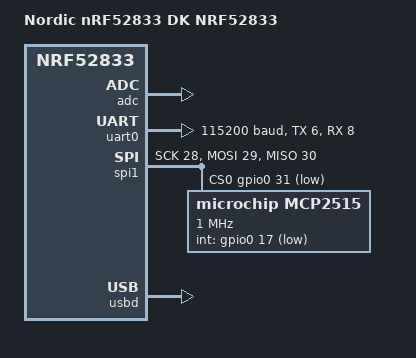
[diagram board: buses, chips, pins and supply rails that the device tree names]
/*
 * Copyright (c) 2019 Nordic Semiconductor ASA
 *
 * SPDX-License-Identifier: Apache-2.0
 */
 
 //This board is derived from the nrf52833dk_nrf52833.dts board

/dts-v1/;
#include <nordic/nrf52833_qiaa.dtsi>

/ {
	model = "Nordic nRF52833 DK NRF52833";
	compatible = "nordic,nrf52833-dk-nrf52833";

	chosen {
		zephyr,console = &uart0;
		zephyr,shell-uart = &uart0;
		zephyr,uart-mcumgr = &uart0;
		zephyr,bt-mon-uart = &uart0;
		zephyr,bt-c2h-uart = &uart0;
		zephyr,sram = &sram0;
		zephyr,flash = &flash0;
		zephyr,code-partition = &slot0_partition;
    zephyr,canbus = &mcp2515;
	};

  /*/
  arduino_header: connector {
		compatible = "arduino-header-r3";
		#gpio-cells = <2>;
		gpio-map-mask = <0xffffffff 0xffffffc0>;
		gpio-map-pass-thru = <0 0x3f>;
		gpio-map = <0 0 &gpio0 3 0>,	// A0
			   <1 0 &gpio0 4 0>,	// A1
			   <2 0 &gpio0 28 0>,	// A2
			   <3 0 &gpio0 29 0>,	// A3
			   <4 0 &gpio0 30 0>,	// A4
			   <5 0 &gpio0 31 0>,	// A5
			   <6 0 &gpio1 1 0>,	// D0
			   <7 0 &gpio1 2 0>,	// D1
			   <8 0 &gpio1 3 0>,	// D2
			   <9 0 &gpio1 4 0>,	// D3
			   <10 0 &gpio1 5 0>,	// D4
			   <11 0 &gpio1 6 0>,	// D5
			   <12 0 &gpio1 7 0>,	// D6
			   <13 0 &gpio1 8 0>,	// D7
			   <14 0 &gpio0 17 0>,	// D8
			   <15 0 &gpio0 19 0>,	// D9
			   <16 0 &gpio0 20 0>,	// D10
			   <17 0 &gpio0 21 0>,	// D11
			   <18 0 &gpio0 22 0>,	// D12
			   <19 0 &gpio0 23 0>,	// D13
			   <20 0 &gpio0 26 0>,	// D14
			   <21 0 &gpio0 27 0>;	// D15
	};
  */
	
	aliases {
    adc = &adc;
    i2c0 = &i2c0;
    gpio0 = &gpio0;
    spi1 = &spi1;
    //can1 = &mcp2515;
	};
};

&adc {
	status = "okay";
};

&gpiote {
	status = "okay";
};

&gpio0 {
	status = "okay";
};

&gpio1 {
	status = "okay";
};

&uart0 {
	compatible = "nordic,nrf-uarte";
	status = "okay";
	current-speed = <115200>;
	tx-pin = <6>;
	rx-pin = <8>;
  rx-pull-up;
};

&spi1 {
	compatible = "nordic,nrf-spim";
	status = "okay";
  sck-pin = <28>;
  miso-pin = <30>;
  mosi-pin = <29>;
    cs-gpios = <&gpio0 31 GPIO_ACTIVE_LOW>;

  mcp2515: can@0 {
		compatible = "microchip,mcp2515";
		spi-max-frequency = <1000000>;
		//int-gpios = <&arduino_header 8 GPIO_ACTIVE_LOW>; /* D2 */
    //int-gpios = <&gpio0 10 GPIO_ACTIVE_LOW>;
    int-gpios = <&gpio0 17 GPIO_ACTIVE_LOW>;
		status = "okay";
		label = "MCP2515";
		reg = <0x0>;
		osc-freq = <16000000>;
		bus-speed = <125000>;
		sjw = <1>;
		sample-point = <875>;
	};
};

&flash0 {

	partitions {
		compatible = "fixed-partitions";
		#address-cells = <1>;
		#size-cells = <1>;

		boot_partition: partition@0 {
			label = "mcuboot";
			reg = <0x000000000 0xC000>;
		};
		slot0_partition: partition@c000 {
			label = "image-0";
			reg = <0x0000C000 0x32000>;
		};
		slot1_partition: partition@3e000 {
			label = "image-1";
			reg = <0x0003E000 0x32000>;
		};
		scratch_partition: partition@70000 {
			label = "image-scratch";
			reg = <0x00070000 0xA000>;
		};
		storage_partition: partition@7a000 {
			label = "storage";
			reg = <0x0007A000 0x00004000>;
		};
    user_partition: partition@7e000 {
      label = "user-storage";
      reg = <0x0007E000 0x00002000>;
    };
	};
};

zephyr_udc0: &usbd {
	compatible = "nordic,nrf-usbd";
	status = "okay";
};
